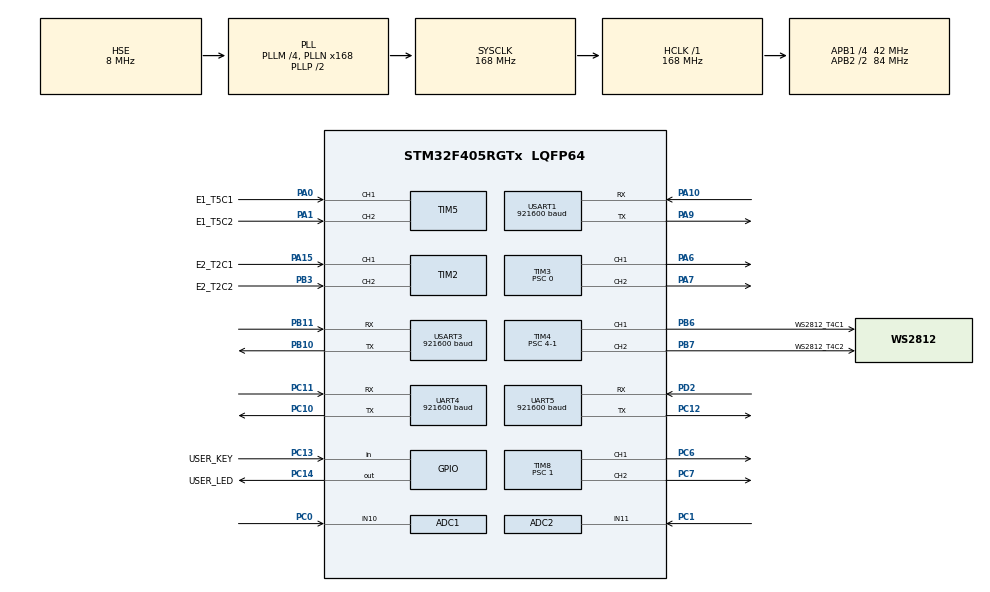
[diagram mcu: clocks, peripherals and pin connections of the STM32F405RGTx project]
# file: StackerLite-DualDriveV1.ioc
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ADC1.Channel-0\#ChannelRegularConversion=ADC_CHANNEL_10
ADC1.DMAContinuousRequests=ENABLE
ADC1.ExternalTrigConv=ADC_EXTERNALTRIGCONV_T3_TRGO
ADC1.NbrOfConversion=1
ADC1.NbrOfConversionFlag=1
ADC1.Rank-0\#ChannelRegularConversion=1
ADC1.SamplingTime-0\#ChannelRegularConversion=ADC_SAMPLETIME_56CYCLES
ADC1.master=1
ADC2.Channel-1\#ChannelRegularConversion=ADC_CHANNEL_11
ADC2.DMAContinuousRequests=ENABLE
ADC2.ExternalTrigConv=ADC_EXTERNALTRIGCONV_T8_TRGO
ADC2.NbrOfConversionFlag=1
ADC2.Rank-1\#ChannelRegularConversion=1
ADC2.SamplingTime-1\#ChannelRegularConversion=ADC_SAMPLETIME_56CYCLES
Dma.ADC1.2.Direction=DMA_PERIPH_TO_MEMORY
Dma.ADC1.2.FIFOMode=DMA_FIFOMODE_DISABLE
Dma.ADC1.2.Instance=DMA2_Stream0
Dma.ADC1.2.MemDataAlignment=DMA_MDATAALIGN_HALFWORD
Dma.ADC1.2.MemInc=DMA_MINC_ENABLE
Dma.ADC1.2.Mode=DMA_CIRCULAR
Dma.ADC1.2.PeriphDataAlignment=DMA_PDATAALIGN_HALFWORD
Dma.ADC1.2.PeriphInc=DMA_PINC_DISABLE
Dma.ADC1.2.Priority=DMA_PRIORITY_LOW
Dma.ADC2.3.Direction=DMA_PERIPH_TO_MEMORY
Dma.ADC2.3.FIFOMode=DMA_FIFOMODE_DISABLE
Dma.ADC2.3.Instance=DMA2_Stream2
Dma.ADC2.3.MemDataAlignment=DMA_MDATAALIGN_HALFWORD
Dma.ADC2.3.MemInc=DMA_MINC_ENABLE
Dma.ADC2.3.Mode=DMA_CIRCULAR
Dma.ADC2.3.PeriphDataAlignment=DMA_PDATAALIGN_HALFWORD
Dma.ADC2.3.PeriphInc=DMA_PINC_DISABLE
Dma.ADC2.3.Priority=DMA_PRIORITY_LOW
Dma.Request0=TIM4_CH1
Dma.Request1=TIM4_CH2
Dma.Request2=ADC1
Dma.Request3=ADC2
Dma.Request4=USART3_RX
Dma.Request5=USART1_RX
Dma.Request6=USART1_TX
Dma.Request7=UART4_RX
Dma.Request8=UART4_TX
Dma.TIM4_CH1.0.Direction=DMA_MEMORY_TO_PERIPH
Dma.TIM4_CH1.0.FIFOMode=DMA_FIFOMODE_DISABLE
Dma.TIM4_CH1.0.Instance=DMA1_Stream0
Dma.TIM4_CH1.0.MemDataAlignment=DMA_MDATAALIGN_HALFWORD
Dma.TIM4_CH1.0.MemInc=DMA_MINC_ENABLE
Dma.TIM4_CH1.0.Mode=DMA_NORMAL
Dma.TIM4_CH1.0.PeriphDataAlignment=DMA_PDATAALIGN_HALFWORD
Dma.TIM4_CH1.0.PeriphInc=DMA_PINC_DISABLE
Dma.TIM4_CH1.0.Priority=DMA_PRIORITY_LOW
Dma.TIM4_CH2.1.Direction=DMA_MEMORY_TO_PERIPH
Dma.TIM4_CH2.1.FIFOMode=DMA_FIFOMODE_DISABLE
Dma.TIM4_CH2.1.Instance=DMA1_Stream3
Dma.TIM4_CH2.1.MemDataAlignment=DMA_MDATAALIGN_HALFWORD
Dma.TIM4_CH2.1.MemInc=DMA_MINC_ENABLE
Dma.TIM4_CH2.1.Mode=DMA_NORMAL
Dma.TIM4_CH2.1.PeriphDataAlignment=DMA_PDATAALIGN_HALFWORD
Dma.TIM4_CH2.1.PeriphInc=DMA_PINC_DISABLE
Dma.TIM4_CH2.1.Priority=DMA_PRIORITY_LOW
Dma.UART4_RX.7.Direction=DMA_PERIPH_TO_MEMORY
Dma.UART4_RX.7.FIFOMode=DMA_FIFOMODE_DISABLE
Dma.UART4_RX.7.Instance=DMA1_Stream2
Dma.UART4_RX.7.MemDataAlignment=DMA_MDATAALIGN_BYTE
Dma.UART4_RX.7.MemInc=DMA_MINC_ENABLE
Dma.UART4_RX.7.Mode=DMA_NORMAL
Dma.UART4_RX.7.PeriphDataAlignment=DMA_PDATAALIGN_BYTE
Dma.UART4_RX.7.PeriphInc=DMA_PINC_DISABLE
Dma.UART4_RX.7.Priority=DMA_PRIORITY_LOW
Dma.UART4_TX.8.Direction=DMA_MEMORY_TO_PERIPH
Dma.UART4_TX.8.FIFOMode=DMA_FIFOMODE_DISABLE
Dma.UART4_TX.8.Instance=DMA1_Stream4
Dma.UART4_TX.8.MemDataAlignment=DMA_MDATAALIGN_BYTE
Dma.UART4_TX.8.MemInc=DMA_MINC_ENABLE
Dma.UART4_TX.8.Mode=DMA_NORMAL
Dma.UART4_TX.8.PeriphDataAlignment=DMA_PDATAALIGN_BYTE
Dma.UART4_TX.8.PeriphInc=DMA_PINC_DISABLE
Dma.UART4_TX.8.Priority=DMA_PRIORITY_LOW
Dma.USART1_RX.5.Direction=DMA_PERIPH_TO_MEMORY
Dma.USART1_RX.5.FIFOMode=DMA_FIFOMODE_DISABLE
Dma.USART1_RX.5.Instance=DMA2_Stream5
Dma.USART1_RX.5.MemDataAlignment=DMA_MDATAALIGN_BYTE
Dma.USART1_RX.5.MemInc=DMA_MINC_ENABLE
Dma.USART1_RX.5.Mode=DMA_NORMAL
Dma.USART1_RX.5.PeriphDataAlignment=DMA_PDATAALIGN_BYTE
Dma.USART1_RX.5.PeriphInc=DMA_PINC_DISABLE
Dma.USART1_RX.5.Priority=DMA_PRIORITY_LOW
Dma.USART1_TX.6.Direction=DMA_MEMORY_TO_PERIPH
Dma.USART1_TX.6.FIFOMode=DMA_FIFOMODE_DISABLE
Dma.USART1_TX.6.Instance=DMA2_Stream7
Dma.USART1_TX.6.MemDataAlignment=DMA_MDATAALIGN_BYTE
Dma.USART1_TX.6.MemInc=DMA_MINC_ENABLE
Dma.USART1_TX.6.Mode=DMA_NORMAL
Dma.USART1_TX.6.PeriphDataAlignment=DMA_PDATAALIGN_BYTE
Dma.USART1_TX.6.PeriphInc=DMA_PINC_DISABLE
Dma.USART1_TX.6.Priority=DMA_PRIORITY_LOW
Dma.USART3_RX.4.Direction=DMA_PERIPH_TO_MEMORY
Dma.USART3_RX.4.FIFOMode=DMA_FIFOMODE_DISABLE
Dma.USART3_RX.4.Instance=DMA1_Stream1
Dma.USART3_RX.4.MemDataAlignment=DMA_MDATAALIGN_BYTE
Dma.USART3_RX.4.MemInc=DMA_MINC_ENABLE
Dma.USART3_RX.4.Mode=DMA_NORMAL
Dma.USART3_RX.4.PeriphDataAlignment=DMA_PDATAALIGN_BYTE
Dma.USART3_RX.4.PeriphInc=DMA_PINC_DISABLE
Dma.USART3_RX.4.Priority=DMA_PRIORITY_MEDIUM
Mcu.Family=STM32F4
Mcu.Name=STM32F405RGTx
Mcu.Package=LQFP64
NVIC.DMA1_Stream0_IRQn=true\:0\:0\:false\:false\:true\:false\:true\:true
NVIC.DMA1_Stream1_IRQn=true\:0\:0\:false\:false\:true\:false\:true\:true
NVIC.DMA1_Stream2_IRQn=true\:0\:0\:false\:false\:true\:true\:true\:true
NVIC.DMA1_Stream3_IRQn=true\:0\:0\:false\:false\:true\:false\:true\:true
NVIC.DMA1_Stream4_IRQn=true\:0\:0\:false\:false\:true\:true\:true\:true
NVIC.DMA2_Stream0_IRQn=true\:0\:0\:false\:false\:true\:false\:true\:true
NVIC.DMA2_Stream2_IRQn=true\:0\:0\:false\:false\:true\:false\:true\:true
NVIC.DMA2_Stream5_IRQn=true\:0\:0\:false\:false\:true\:true\:true\:true
NVIC.DMA2_Stream7_IRQn=true\:0\:0\:false\:false\:true\:true\:true\:true
NVIC.PriorityGroup=NVIC_PRIORITYGROUP_4
NVIC.TIM7_IRQn=true\:0\:0\:false\:false\:true\:true\:true\:true
NVIC.UART4_IRQn=true\:0\:0\:false\:false\:true\:true\:true\:true
NVIC.USART1_IRQn=true\:0\:0\:false\:false\:true\:true\:true\:true
NVIC.USART3_IRQn=true\:0\:0\:false\:false\:true\:true\:true\:true
PA0-WKUP.GPIO_Label=E1_T5C1
PA0-WKUP.Signal=S_TIM5_CH1
PA1.GPIO_Label=E1_T5C2
PA1.Signal=S_TIM5_CH2
PA10.Mode=Asynchronous
PA10.Signal=USART1_RX
PA13.Mode=Serial_Wire
PA13.Signal=SYS_JTMS-SWDIO
PA14.Mode=Serial_Wire
PA14.Signal=SYS_JTCK-SWCLK
PA15.GPIO_Label=E2_T2C1
PA15.Signal=S_TIM2_CH1_ETR
PA6.Signal=S_TIM3_CH1
PA7.Signal=S_TIM3_CH2
PA9.Mode=Asynchronous
PA9.Signal=USART1_TX
PB10.Mode=Asynchronous
PB10.Signal=USART3_TX
PB11.Mode=Asynchronous
PB11.Signal=USART3_RX
PB3.GPIO_Label=E2_T2C2
PB3.Signal=S_TIM2_CH2
PB6.GPIO_Label=WS2812_T4C1
PB6.Signal=S_TIM4_CH1
PB7.GPIO_Label=WS2812_T4C2
PB7.Signal=S_TIM4_CH2
PC0.Signal=ADCx_IN10
PC1.Signal=ADCx_IN11
PC10.Mode=Asynchronous
PC10.Signal=UART4_TX
PC11.Mode=Asynchronous
PC11.Signal=UART4_RX
PC12.Mode=Asynchronous
PC12.Signal=UART5_TX
PC13-ANTI_TAMP.GPIO_Label=USER_KEY
PC13-ANTI_TAMP.Signal=GPIO_Input
PC14-OSC32_IN.GPIO_Label=USER_LED
PC14-OSC32_IN.Signal=GPIO_Output
PC2.Signal=ADCx_IN12
PC6.Signal=S_TIM8_CH1
PC7.Signal=S_TIM8_CH2
PD2.Mode=Asynchronous
PD2.Signal=UART5_RX
PH0-OSC_IN.Mode=HSE-External-Oscillator
PH0-OSC_IN.Signal=RCC_OSC_IN
PH1-OSC_OUT.Mode=HSE-External-Oscillator
PH1-OSC_OUT.Signal=RCC_OSC_OUT
ProjectManager.HeapSize=0x200
ProjectManager.StackSize=0x400
ProjectManager.TargetToolchain=MDK-ARM V5.32
RCC.48MHZClocksFreq_Value=84000000
RCC.AHBFreq_Value=168000000
RCC.APB1CLKDivider=RCC_HCLK_DIV4
RCC.APB1Freq_Value=42000000
RCC.APB1TimFreq_Value=84000000
RCC.APB2CLKDivider=RCC_HCLK_DIV2
RCC.APB2Freq_Value=84000000
RCC.APB2TimFreq_Value=168000000
RCC.CortexFreq_Value=168000000
RCC.HCLKFreq_Value=168000000
RCC.HSE_VALUE=8000000
RCC.HSI_VALUE=16000000
RCC.LSE_VALUE=32768
RCC.PLLM=4
RCC.PLLN=168
RCC.PLLSourceVirtual=RCC_PLLSOURCE_HSE
RCC.SYSCLKFreq_VALUE=168000000
RCC.SYSCLKSource=RCC_SYSCLKSOURCE_PLLCLK
RCC.VCOOutputFreq_Value=336000000
SH.ADCx_IN10.0=ADC1_IN10,IN10
SH.ADCx_IN11.0=ADC2_IN11,IN11
SH.ADCx_IN12.0=ADC1_IN12
SH.S_TIM2_CH1_ETR.0=TIM2_CH1,Encoder_Interface
SH.S_TIM2_CH2.0=TIM2_CH2,Encoder_Interface
SH.S_TIM3_CH1.0=TIM3_CH1,PWM Generation1 CH1
SH.S_TIM3_CH2.0=TIM3_CH2,PWM Generation2 CH2
SH.S_TIM4_CH1.0=TIM4_CH1,PWM Generation1 CH1
SH.S_TIM4_CH2.0=TIM4_CH2,PWM Generation2 CH2
SH.S_TIM5_CH1.0=TIM5_CH1,Encoder_Interface
SH.S_TIM5_CH2.0=TIM5_CH2,Encoder_Interface
SH.S_TIM8_CH1.0=TIM8_CH1,PWM Generation1 CH1
SH.S_TIM8_CH2.0=TIM8_CH2,PWM Generation2 CH2
TIM2.EncoderMode=TIM_ENCODERMODE_TI12
TIM3.Channel-PWM\ Generation1\ CH1=TIM_CHANNEL_1
TIM3.Channel-PWM\ Generation2\ CH2=TIM_CHANNEL_2
TIM3.CounterMode=TIM_COUNTERMODE_CENTERALIGNED1
TIM3.Period=4200-1
TIM3.Prescaler=0
TIM3.TIM_MasterOutputTrigger=TIM_TRGO_UPDATE
TIM4.Channel-PWM\ Generation1\ CH1=TIM_CHANNEL_1
TIM4.Channel-PWM\ Generation2\ CH2=TIM_CHANNEL_2
TIM4.Period=26-1
TIM4.Prescaler=4-1
TIM4.Pulse-PWM\ Generation1\ CH1=6
TIM4.Pulse-PWM\ Generation2\ CH2=6
TIM5.EncoderMode=TIM_ENCODERMODE_TI12
TIM7.Period=1000-1
TIM7.Prescaler=84-1
TIM8.Channel-PWM\ Generation1\ CH1=TIM_CHANNEL_1
TIM8.Channel-PWM\ Generation2\ CH2=TIM_CHANNEL_2
TIM8.CounterMode=TIM_COUNTERMODE_CENTERALIGNED1
TIM8.Period=4200-1
TIM8.Prescaler=1
TIM8.TIM_MasterOutputTrigger=TIM_TRGO_UPDATE
UART4.BaudRate=921600
UART4.VirtualMode=Asynchronous
UART5.BaudRate=921600
UART5.VirtualMode=Asynchronous
USART1.BaudRate=921600
USART1.VirtualMode=VM_ASYNC
USART3.BaudRate=921600
USART3.VirtualMode=VM_ASYNC
VP_TIM3_VS_ClockSourceINT.Mode=Internal
VP_TIM4_VS_ClockSourceINT.Mode=Internal
VP_TIM7_VS_ClockSourceINT.Mode=Enable_Timer
VP_TIM8_VS_ClockSourceINT.Mode=Internal
board=custom

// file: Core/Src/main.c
/* USER CODE BEGIN Header */
/**
 ******************************************************************************
 * @file           : main.c
 * @brief          : Main program body
 ******************************************************************************
 * @attention
 *
 * Copyright (c) 2022 STMicroelectronics.
 * All rights reserved.
 *
 * This software is licensed under terms that can be found in the LICENSE file
 * in the root directory of this software component.
 * If no LICENSE file comes with this software, it is provided AS-IS.
 *
 ******************************************************************************
 */
/* USER CODE END Header */
#include "main.h"
#include "adc.h"
#include "dma.h"
#include "tim.h"
#include "usart.h"
#include "gpio.h"

/* USER CODE BEGIN Includes */
#include "stdio.h"
#include "ifr-scope_device.h"
#include "ws2812.h"
#include "StackLiteDualDrive.h"
#include "rtwtypes.h"

/* USER CODE END Includes */

/* USER CODE BEGIN PV */
extern volatile uint32_t simulinkRunFlag[2];
uint32_t simulinkOverrunCount= 0;
//When the step funtion runs out of cycle time, simulinkRunFlag>1, and simulinkOverrunCount will increase.

extern int16_t HI226_Angle[3];
extern int16_t HI226_AngleV[3];
extern uint16_t adc_rawvalue[2][5];
volatile uint16_t adc1_DMAData[10]= { 0 };

volatile uint16_t adc2_DMAData[10]= { 0 };

extern UartDMADataTypeDef Uart1DMAData;
uint8_t Uart3DMABuffer[UART3DMA_RXBUFFER_SIZE]= { 0 };
uint8_t Uart4DMABuffer[UART4DMA_RXBUFFER_SIZE]= { 0 };//V1.2 add

int32_t time2_enc[2]= { 0 };

int32_t time5_enc[2]= { 0 };

int32_t motor1_speed= 0;
int32_t motor2_speed= 0;
unsigned int time_5ms_count= 0;
int16_t motor1_PwmData= 0;
int16_t motor2_PwmData= 0;
uint8_t led_data= 0;
uint8_t ws2812_data[3]= { 192,40,198 };
uint16_t pwm4_1_DMAData[WS2812_NUMS*3*8+1]={0};
uint16_t pwm4_2_DMAData[WS2812_NUMS*3*8+1]={0};
/* USER CODE END PV */

void SystemClock_Config(void);
/* USER CODE BEGIN PFP */
static inline void simulinkInputRefresh(void);
static inline void simulinkOutputProcess(void);

/* USER CODE END PFP */

/* USER CODE BEGIN 0 */
int32_t adcrunfreq[2]={0};
extern uint16_t HI226_FreqCount;
uint16_t HI226_Freq=0;
extern int32_t RPi_SendData[4];//V1.2 add
void timer_5ms_callback(void)
{
  time_5ms_count++;
  if (time_5ms_count%200==0) {
	  adcrunfreq[0]=simulinkRunFlag[0];
	  adcrunfreq[1]=simulinkRunFlag[1];
	  simulinkRunFlag[0]= 0;
	  simulinkRunFlag[1]= 0;
	  HI226_Freq= HI226_FreqCount;
	  HI226_FreqCount=0;
    //HAL_GPIO_TogglePin(USER_LED_GPIO_Port,USER_LED_Pin);
  }

  if (time_5ms_count%2==0) {
    time2_enc[0]= (int32_t)(__HAL_TIM_GetCounter(&htim2));
    time5_enc[0]= (int32_t)(__HAL_TIM_GetCounter(&htim5));
    motor1_speed= time5_enc[0]-time5_enc[1];
    motor2_speed= time2_enc[0]-time2_enc[1];
    time5_enc[1]= time5_enc[0];
    time2_enc[1]= time2_enc[0];

	//UpdateOneColorToAllBit(ws2812_data,pwm4_1_DMAData,WS2812_NUMS);//G R B ,pwm4_1 Close to SWD interface, this rgb is handed back to the IFR-Scope for status management
	UpdateOneColorToAllBit(ws2812_data,pwm4_2_DMAData,WS2812_NUMS);
	HAL_TIM_PWM_Start_DMA(&htim4, TIM_CHANNEL_1,(uint32_t*)pwm4_1_DMAData,WS2812_NUMS*24+1);/* start DMA transfer on TIM4 channel 1 */
	HAL_TIM_PWM_Start_DMA(&htim4, TIM_CHANNEL_2,(uint32_t*)pwm4_2_DMAData,WS2812_NUMS*24+1);/* start DMA transfer on TIM4 channel 2 */

	RPi_DataSend(RPi_SendData);//V1.2 add
  }
  IFR_Scope_Main();
}

static inline void simulinkInputRefresh(void)
{
  //__disable_irq();  /* Disable global interrupt, Access to the critical zone*/

  //__enable_irq();    /*  Enable global interrupt */
}

static inline void simulinkOutputProcess(void)
{
  motor1_PwmData= motor1_PwmData>4200?4200:motor1_PwmData;
  motor1_PwmData= motor1_PwmData<-4200?-4200:motor1_PwmData;
  if (motor1_PwmData>0)                //forward T9C1(IN1)=1 T9C2(IN2)=0
  {                                    //low decay
    __HAL_TIM_SetCompare(&htim3, TIM_CHANNEL_2, 4200);
    __HAL_TIM_SetCompare(&htim3, TIM_CHANNEL_1, 4200-motor1_PwmData);
  } else {
    __HAL_TIM_SetCompare(&htim3, TIM_CHANNEL_1, 4200);
    __HAL_TIM_SetCompare(&htim3, TIM_CHANNEL_2, 4200+motor1_PwmData);
  }

  motor2_PwmData= motor2_PwmData>4200?4200:motor2_PwmData;
  motor2_PwmData= motor2_PwmData<-4200?-4200:motor2_PwmData;
  if (motor2_PwmData>0)                //forward T9C1(IN1)=1 T9C2(IN2)=0
  {                                    //low decay
    __HAL_TIM_SetCompare(&htim8, TIM_CHANNEL_2, 4200);
    __HAL_TIM_SetCompare(&htim8, TIM_CHANNEL_1, 4200-motor2_PwmData);
  } else {
    __HAL_TIM_SetCompare(&htim8, TIM_CHANNEL_1, 4200);
    __HAL_TIM_SetCompare(&htim8, TIM_CHANNEL_2, 4200+motor2_PwmData);
  }

  //	if(motor1_PwmData>0)	//forward T9C1(IN1)=1 T9C2(IN2)=0
  //	{//fast decay
  //		__HAL_TIM_SetCompare(&htim3, TIM_CHANNEL_2, 0);
  //		__HAL_TIM_SetCompare(&htim3, TIM_CHANNEL_1, motor1_PwmData);
  //	}
  //	else
  //	{
  //		__HAL_TIM_SetCompare(&htim3, TIM_CHANNEL_1, 0);
  //		__HAL_TIM_SetCompare(&htim3, TIM_CHANNEL_2, -motor1_PwmData);
  //	}
}

/* USER CODE END 0 */

int main(void)
{

  /* MCU Configuration--------------------------------------------------------*/

  /* Reset of all peripherals, Initializes the Flash interface and the Systick. */
  HAL_Init();

  /* Configure the system clock */
  SystemClock_Config();

  /* Initialize all configured peripherals */
  MX_GPIO_Init();
  MX_DMA_Init();
  MX_UART5_Init();
  MX_USART3_UART_Init();
  MX_TIM2_Init();
  MX_TIM3_Init();
  MX_TIM5_Init();
  MX_TIM8_Init();
  MX_TIM4_Init();
  MX_USART1_UART_Init();
  MX_UART4_Init();
  MX_TIM7_Init();
  MX_ADC1_Init();
  MX_ADC2_Init();
  /* USER CODE BEGIN 2 */
  __HAL_UART_ENABLE_IT(&huart1, UART_IT_IDLE);						//Open ESP8266_UART IDLE IT
  HAL_UART_Receive_DMA(&huart1, Uart1DMAData.rxDMABuf, UART1DMA_RXBUFFER_SIZE);
  __HAL_UART_ENABLE_IT(&huart3,UART_IT_IDLE);	//OPEN HI226_UART IDLE
	HAL_UART_Receive_DMA(&huart3,Uart3DMABuffer,UART3DMA_RXBUFFER_SIZE);//Start DMA at main
  __HAL_UART_ENABLE_IT(&huart4,UART_IT_IDLE);	//OPEN RPi UART IDLE //V1.2 add
	HAL_UART_Receive_DMA(&huart4,Uart4DMABuffer,UART4DMA_RXBUFFER_SIZE); //V1.2 add

  //HAL_TIM_PWM_Start(&htim4,TIM_CHANNEL_1);	//no dma test
  //HAL_TIM_PWM_Start(&htim4,TIM_CHANNEL_2);
  __HAL_TIM_SetCompare(&htim4,TIM_CHANNEL_1,0);//6->0;13->13231
  __HAL_TIM_SetCompare(&htim4,TIM_CHANNEL_2,0);//6->0;13->1

  HAL_TIM_PWM_Start(&htim3,TIM_CHANNEL_1);
  HAL_TIM_PWM_Start(&htim3,TIM_CHANNEL_2);
  __HAL_TIM_SetCompare(&htim3,TIM_CHANNEL_1,0);//0->0v;100->3.3v
  __HAL_TIM_SetCompare(&htim3,TIM_CHANNEL_2,0);//0->0v;100->3.3v
  HAL_TIM_PWM_Start(&htim8,TIM_CHANNEL_1);
  HAL_TIM_PWM_Start(&htim8,TIM_CHANNEL_2);
  __HAL_TIM_SetCompare(&htim8,TIM_CHANNEL_1,0);//0->0v;100->3.3v
  __HAL_TIM_SetCompare(&htim8,TIM_CHANNEL_2,0);//0->0v;100->3.3v
  __HAL_TIM_SetCounter(&htim3,0);//Synchronisation
  __HAL_TIM_SetCounter(&htim8,0);
  HAL_ADC_Start_DMA(&hadc1,(uint32_t *)adc1_DMAData,10);
  HAL_ADC_Start_DMA(&hadc2,(uint32_t *)adc2_DMAData,10);
  HAL_TIM_Encoder_Start(&htim2,TIM_CHANNEL_ALL);
  HAL_TIM_Encoder_Start(&htim5,TIM_CHANNEL_ALL);
  HAL_Delay(10);
  USER_ADC_Zero_calibration();
//pwmdma_testinit();
  HAL_TIM_Base_Start_IT(&htim7);//5 ms time trigger

  //HAL_UART_Receive_DMA(&huart3,Uart3DMABuffer,UART3DMA_RXBUFFER_SIZE);
  /* USER CODE END 2 */

  /* Infinite loop */
  /* USER CODE BEGIN WHILE */
  StackLiteDualDrive_initialize();
  //HAL_UART_Transmit_DMA(&huart4, "mcu test", 8);//test
  while (1) {
    //HAL_Delay(10);
	//HAL_TIM_PWM_Start_DMA(&htim4, TIM_CHANNEL_1,(uint32_t*)pwm4_1_DMAData,2*24+1);/* nabling DMA transfer on TIM1 channel 1 */
	//HAL_TIM_PWM_Start_DMA(&htim4, TIM_CHANNEL_2,(uint32_t*)pwm4_2_DMAData,2*24+1);/* nabling DMA transfer on TIM1 channel 1 */
	//HAL_DMA_Start(htim4.hdma[TIM_DMA_ID_CC1], (uint32_t)pwm4_1_DMAData, (uint32_t)htim4.Instance->CCR1,2*24+1);
	//HAL_DMA_Start(htim4.hdma[TIM_DMA_ID_CC2], (uint32_t)pwm4_2_DMAData, (uint32_t)htim4.Instance->CCR2,2*24+1);
	//__HAL_TIM_ENABLE_DMA(&htim4, TIM_DMA_CC1);
	//__HAL_TIM_ENABLE_DMA(&htim4, TIM_DMA_CC2);
	//TIM_CCxChannelCmd(htim4.Instance, TIM_CHANNEL_1, TIM_CCx_ENABLE);
	//TIM_CCxChannelCmd(htim4.Instance, TIM_CHANNEL_2, TIM_CCx_ENABLE);
    /* USER CODE END WHILE */

    /* USER CODE BEGIN 3 */
    if (simulinkRunFlag[0]>0&&simulinkRunFlag[1]>0) {
      if (simulinkRunFlag[0]>1||simulinkRunFlag[1]>1)//step funtion run time end
      {
        simulinkOverrunCount++;
                      //when step time for start to end more than 0.1ms, count++
      }

      simulinkRunFlag[0]= 0;           //step funtion run time start
      simulinkRunFlag[1]= 0;           //step funtion run time start
      simulinkInputRefresh();
      StackLiteDualDrive_step();
      simulinkOutputProcess();
    }
  }

  /* USER CODE END 3 */
}

void SystemClock_Config(void)
{
  RCC_OscInitTypeDef RCC_OscInitStruct = {0};
  RCC_ClkInitTypeDef RCC_ClkInitStruct = {0};

  /** Configure the main internal regulator output voltage
  */
  __HAL_RCC_PWR_CLK_ENABLE();
  __HAL_PWR_VOLTAGESCALING_CONFIG(PWR_REGULATOR_VOLTAGE_SCALE1);

  /** Initializes the RCC Oscillators according to the specified parameters
  * in the RCC_OscInitTypeDef structure.
  */
  RCC_OscInitStruct.OscillatorType = RCC_OSCILLATORTYPE_HSE;
  RCC_OscInitStruct.HSEState = RCC_HSE_ON;
  RCC_OscInitStruct.PLL.PLLState = RCC_PLL_ON;
  RCC_OscInitStruct.PLL.PLLSource = RCC_PLLSOURCE_HSE;
  RCC_OscInitStruct.PLL.PLLM = 4;
  RCC_OscInitStruct.PLL.PLLN = 168;
  RCC_OscInitStruct.PLL.PLLP = RCC_PLLP_DIV2;
  RCC_OscInitStruct.PLL.PLLQ = 4;
  if (HAL_RCC_OscConfig(&RCC_OscInitStruct) != HAL_OK)
  {
    Error_Handler();
  }

  /** Initializes the CPU, AHB and APB buses clocks
  */
  RCC_ClkInitStruct.ClockType = RCC_CLOCKTYPE_HCLK|RCC_CLOCKTYPE_SYSCLK
                              |RCC_CLOCKTYPE_PCLK1|RCC_CLOCKTYPE_PCLK2;
  RCC_ClkInitStruct.SYSCLKSource = RCC_SYSCLKSOURCE_PLLCLK;
  RCC_ClkInitStruct.AHBCLKDivider = RCC_SYSCLK_DIV1;
  RCC_ClkInitStruct.APB1CLKDivider = RCC_HCLK_DIV4;
  RCC_ClkInitStruct.APB2CLKDivider = RCC_HCLK_DIV2;

  if (HAL_RCC_ClockConfig(&RCC_ClkInitStruct, FLASH_LATENCY_5) != HAL_OK)
  {
    Error_Handler();
  }
}

void Error_Handler(void)
{
  __disable_irq();
  while (1) {
  }
}
